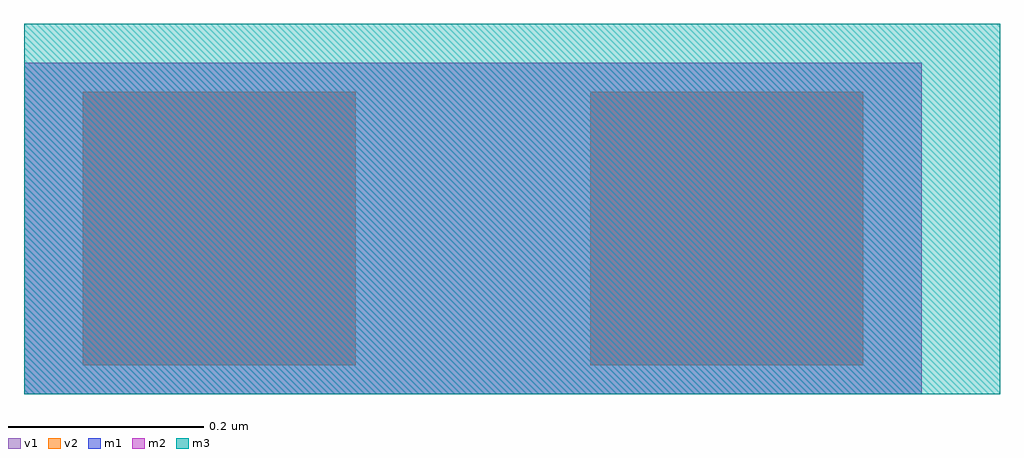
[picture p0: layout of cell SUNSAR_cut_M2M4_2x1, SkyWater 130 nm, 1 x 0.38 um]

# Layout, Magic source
magic
tech sky130A
magscale 1 1
<< m1 >>
rect 0 0 92 34
<< v1 >>
rect 6 3 34 31
rect 58 3 86 31
<< m2 >>
rect 0 0 92 34
<< v2 >>
rect 6 3 34 31
rect 58 3 86 31
<< m3 >>
rect 0 0 100 38
<< labels >>
<< properties >>
string FIXED_BBOX 0 0 100 38
<< end >>
